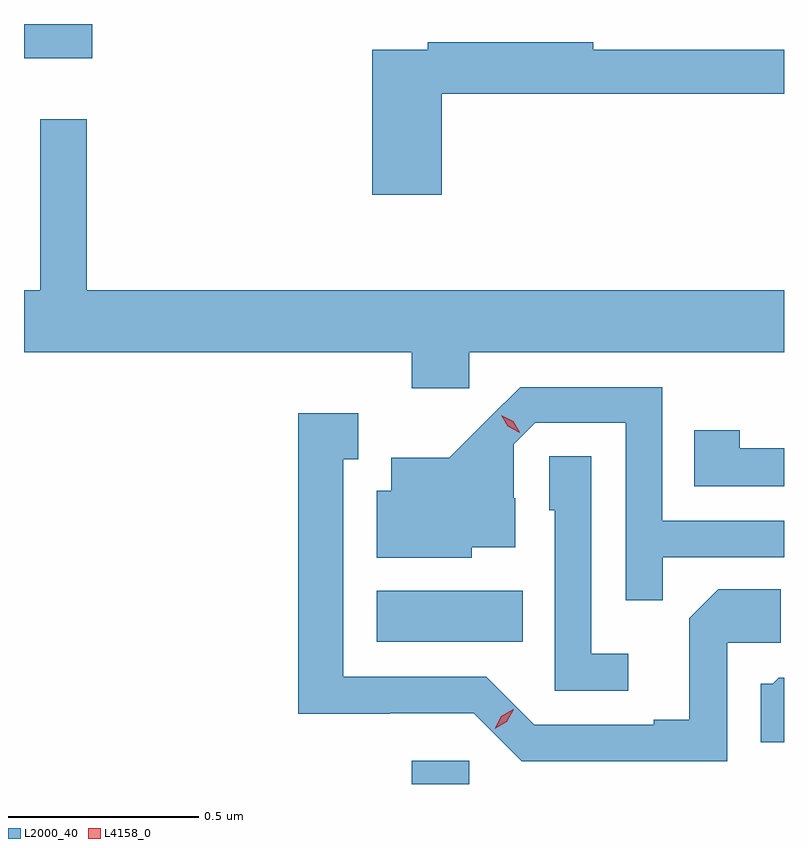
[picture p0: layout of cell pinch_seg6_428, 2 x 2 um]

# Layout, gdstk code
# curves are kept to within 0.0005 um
import gdstk
lib = gdstk.Library(unit=1e-6, precision=1e-09)
def R(c, l, rs):  # rectangles x0, y0, x1, y1
    for r in rs: c.add(gdstk.rectangle(r[:2], r[2:], *l))
def P(c, l, *ps):  # polygons
    for p in ps: c.add(gdstk.Polygon(p, *l))
L2000_40 = (2000, 40)
L4158_0 = (4158, 0)

pinch_seg6_428 = lib.new_cell('pinch_seg6_428')
R(pinch_seg6_428, L2000_40, [(674.705,920.892,674.856,920.953), (674.612,921.266,674.996,921.4), (673.684,922.802,673.864,922.892)])
P(pinch_seg6_428, L2000_40, [(674.783,922.708),(675.684,922.708),(675.684,922.824),(675.182,922.824),(675.182,922.844),(674.746,922.844),(674.746,922.824),(674.6,922.824),(674.6,922.443),(674.783,922.443)],
  [(674.856,922.028),(675.684,922.028),(675.684,922.192),(673.849,922.192),(673.849,922.642),(673.727,922.642),(673.727,922.192),(673.684,922.192),(673.684,922.028),(674.705,922.028),(674.705,921.933),(674.856,921.933)],
  [(675.365,921.489),(675.684,921.489),(675.684,921.585),(675.363,921.585),(675.363,921.936),(674.99,921.936),(674.803,921.751),(674.651,921.751),(674.651,921.664),(674.612,921.664),(674.612,921.488),(674.862,921.488),(674.862,921.515),(674.977,921.515),(674.977,921.644),(674.973,921.644),(674.973,921.786),(675.03,921.843),(675.267,921.843),(675.267,921.376),(675.365,921.376)],
  [(675.534,921.264),(675.676,921.264),(675.676,921.404),(675.511,921.404),(675.435,921.328),(675.435,921.061),(675.341,921.061),(675.341,921.048),(675.027,921.048),(674.901,921.174),(674.524,921.174),(674.524,921.747),(674.563,921.747),(674.563,921.868),(674.406,921.868),(674.406,921.077),(674.646,921.077),(674.646,921.078),(674.868,921.078),(674.994,920.952),(675.534,920.952)],
  [(675.684,921.776),(675.567,921.776),(675.567,921.823),(675.448,921.823),(675.448,921.675),(675.684,921.675)],
  [(675.274,921.235),(675.177,921.235),(675.177,921.755),(675.066,921.755),(675.066,921.612),(675.081,921.612),(675.081,921.138),(675.274,921.138)],
  [(675.684,921.172),(675.67,921.172),(675.654,921.156),(675.623,921.156),(675.623,921.002),(675.684,921.002)])
P(pinch_seg6_428, L4158_0, [(674.988,921.817),(674.957,921.833),(674.94,921.862),(674.94,921.863),(674.94,921.863),(674.971,921.847),(674.988,921.818),(674.988,921.817)],
  [(674.923,921.037),(674.923,921.037),(674.94,921.07),(674.972,921.089),(674.973,921.089),(674.973,921.089),(674.955,921.056),(674.923,921.037)])

lib.write_gds('pinch_seg6_428.gds')
